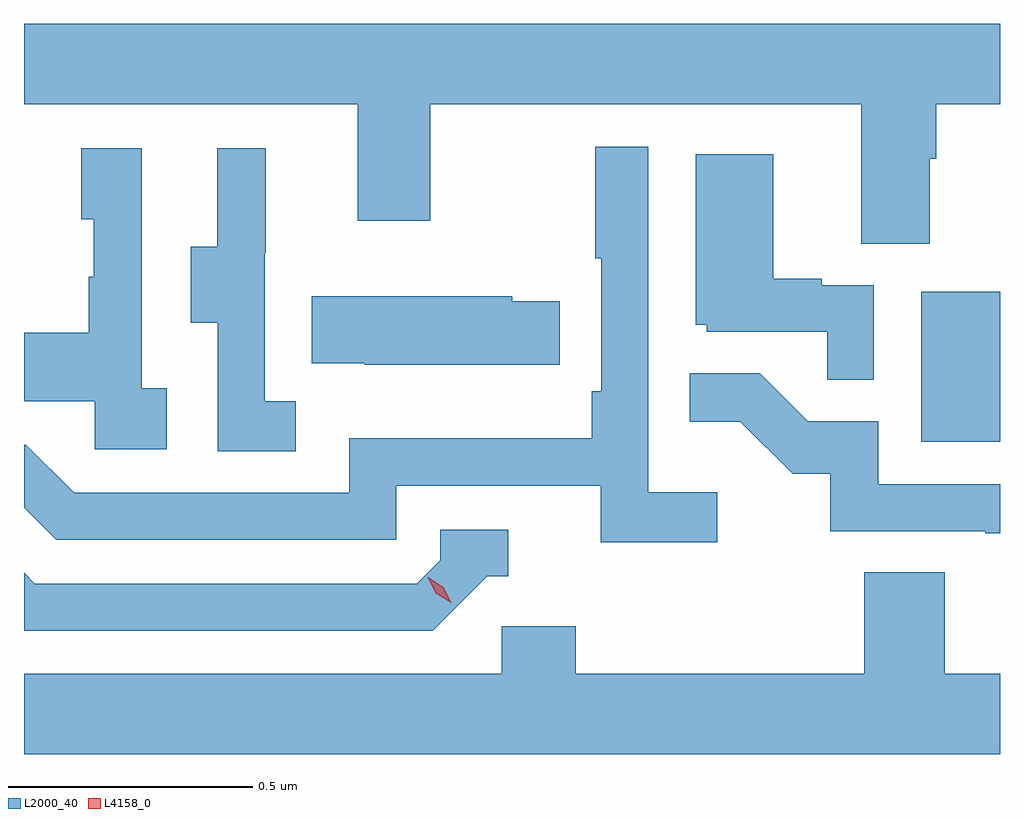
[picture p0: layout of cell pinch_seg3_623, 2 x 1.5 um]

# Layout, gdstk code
import gdstk
lib = gdstk.Library(unit=1e-6, precision=1e-09)
def R(c, l, rs):  # rectangles x0, y0, x1, y1
    for r in rs: c.add(gdstk.rectangle(r[:2], r[2:], *l))
def P(c, l, *ps):  # polygons
    for p in ps: c.add(gdstk.Polygon(p, *l))
L2000_40 = (2000, 40)
L4158_0 = (4158, 0)

pinch_seg3_623 = lib.new_cell('pinch_seg3_623')
R(pinch_seg3_623, L2000_40, [(1038.932,696.228,1039.093,696.535)])
P(pinch_seg3_623, L2000_40, [(1038.949,696.808),(1038.962,696.808),(1038.962,696.92),(1039.093,696.92),(1039.093,697.084),(1037.093,697.084),(1037.093,696.92),(1037.777,696.92),(1037.777,696.681),(1037.925,696.681),(1037.925,696.92),(1038.809,696.92),(1038.809,696.634),(1038.949,696.634)],
  [(1038.514,696.124),(1038.372,696.124),(1038.372,696.832),(1038.264,696.832),(1038.264,696.604),(1038.276,696.604),(1038.276,696.331),(1038.256,696.331),(1038.256,696.235),(1037.76,696.235),(1037.76,696.123),(1037.196,696.123),(1037.097,696.222),(1037.093,696.222),(1037.093,696.093),(1037.159,696.027),(1037.856,696.027),(1037.856,696.138),(1038.275,696.138),(1038.275,696.022),(1038.514,696.022)],
  [(1037.386,696.338),(1037.334,696.338),(1037.334,696.829),(1037.21,696.829),(1037.21,696.684),(1037.236,696.684),(1037.236,696.566),(1037.226,696.566),(1037.226,696.451),(1037.093,696.451),(1037.093,696.311),(1037.238,696.311),(1037.238,696.213),(1037.386,696.213)],
  [(1037.65,696.311),(1037.586,696.311),(1037.586,696.615),(1037.588,696.615),(1037.588,696.829),(1037.489,696.829),(1037.489,696.627),(1037.435,696.627),(1037.435,696.472),(1037.49,696.472),(1037.49,696.208),(1037.65,696.208)],
  [(1038.834,696.549),(1038.728,696.549),(1038.728,696.562),(1038.628,696.562),(1038.628,696.817),(1038.47,696.817),(1038.47,696.468),(1038.492,696.468),(1038.492,696.453),(1038.739,696.453),(1038.739,696.355),(1038.834,696.355)],
  [(1038.191,696.516),(1038.093,696.516),(1038.093,696.526),(1037.683,696.526),(1037.683,696.389),(1037.791,696.389),(1037.791,696.386),(1038.191,696.386)],
  [(1039.093,696.141),(1038.843,696.141),(1038.843,696.27),(1038.699,696.27),(1038.601,696.368),(1038.457,696.368),(1038.457,696.269),(1038.561,696.269),(1038.668,696.162),(1038.745,696.162),(1038.745,696.045),(1039.063,696.045),(1039.063,696.04),(1039.093,696.04)],
  [(1038.042,695.952),(1038.085,695.952),(1038.085,696.048),(1037.946,696.048),(1037.946,695.985),(1037.898,695.937),(1037.115,695.937),(1037.093,695.959),(1037.093,695.841),(1037.931,695.841)],
  [(1039.093,695.752),(1038.98,695.752),(1038.98,695.96),(1038.815,695.96),(1038.815,695.752),(1038.224,695.752),(1038.224,695.85),(1038.072,695.85),(1038.072,695.752),(1037.093,695.752),(1037.093,695.588),(1039.093,695.588)])
P(pinch_seg3_623, L4158_0, [(1037.968,695.898),(1037.937,695.917),(1037.92,695.95),(1037.92,695.95),(1037.921,695.95),(1037.952,695.93),(1037.968,695.898),(1037.968,695.898)])

lib.write_gds('pinch_seg3_623.gds')
